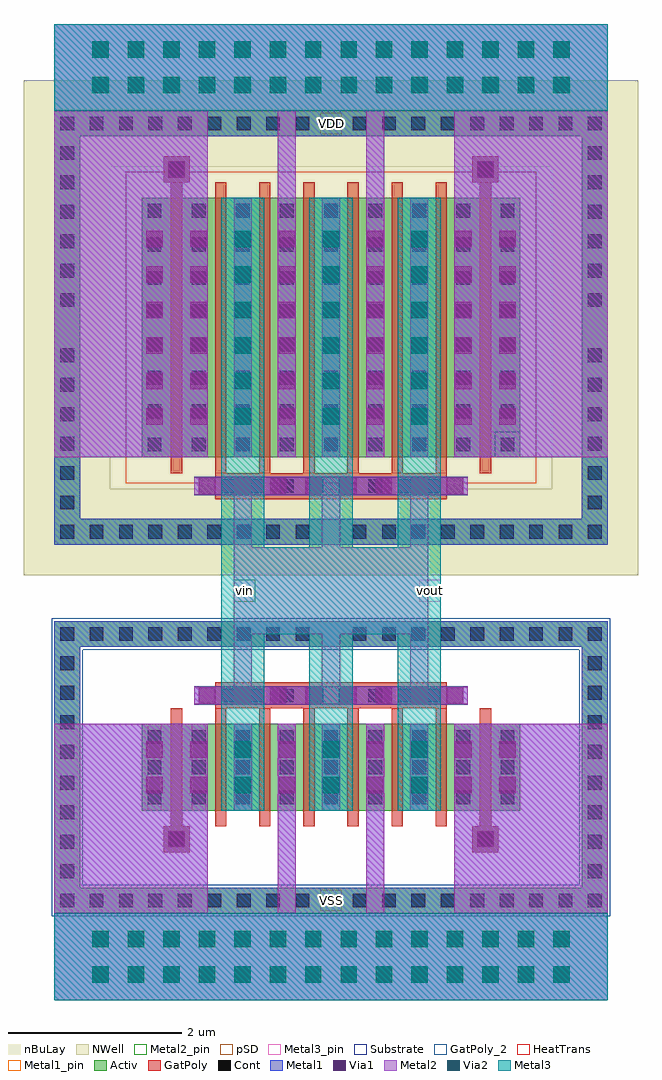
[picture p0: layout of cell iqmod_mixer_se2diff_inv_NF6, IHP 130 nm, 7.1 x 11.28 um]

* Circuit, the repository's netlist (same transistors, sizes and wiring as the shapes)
** sch_path: /foss/designs/TinyWhisper/ihp130/macros/iqmod/xschem/iqmod_mixer_se2diff_inv_NF6.sch
.subckt iqmod_mixer_se2diff_inv_NF6 nwell psub VDD vin vout VSS
*.PININFO vin:I VDD:B VSS:B vout:B nwell:B psub:B
MM1 vout vin VSS psub sg13_lv_nmos w=6.0u l=0.13u ng=6
MM2 vout vin VDD nwell sg13_lv_pmos w=18.0u l=0.13u ng=6
MMdummy1 VSS VSS VSS psub sg13_lv_nmos w=2.0u l=0.13u ng=2
MMdummy2 VDD VDD VDD nwell sg13_lv_pmos w=6.0u l=0.13u ng=2
RR1 VDD nwell ntap1 A=6.492e-12 P=4.328e-05
RR2 VSS psub ptap1 A=5.508e-12 P=3.672e-05
.ends

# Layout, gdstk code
import gdstk
lib = gdstk.Library(unit=1e-6, precision=5e-09)
def R(c, l, rs):  # rectangles x0, y0, x1, y1
    for r in rs: c.add(gdstk.rectangle(r[:2], r[2:], *l))
def A(c, l, x, y, w, h, nx, ny, dx, dy):  # array of equal rectangles
    R(c, l, [(x+i*dx, y+j*dy, x+i*dx+w, y+j*dy+h) for i in range(nx) for j in range(ny)])
def P(c, l, *ps):  # polygons
    for p in ps: c.add(gdstk.Polygon(p, *l))
Activ = (1, 0)
GatPoly = (5, 0)
GatPoly_2 = (5, 2)
Cont = (6, 0)
Metal1 = (8, 0)
Metal1_pin = (8, 2)
Metal2 = (10, 0)
Metal2_pin = (10, 2)
pSD = (14, 0)
Via1 = (19, 0)
Via2 = (29, 0)
Metal3 = (30, 0)
Metal3_pin = (30, 2)
NWell = (31, 0)
nBuLay = (32, 0)
Substrate = (40, 0)
HeatTrans = (51, 0)

via_stack_2 = lib.new_cell('via_stack$2')
R(via_stack_2, GatPoly, [(-0.15,-0.15,0.15,0.15)])
R(via_stack_2, Cont, [(-0.08,-0.08,0.08,0.08)])
R(via_stack_2, Metal1, [(-0.145,-0.105,0.145,0.105)])
R(via_stack_2, Metal2, [(-0.145,-0.1,0.145,0.1)])
R(via_stack_2, Via1, [(-0.095,-0.095,0.095,0.095)])

via_stack = lib.new_cell('via_stack')
R(via_stack, Metal1, [(-0.105,-1.17,0.105,1.17)])
R(via_stack, Metal2, [(-0.1,-1.17,0.1,1.17)])
A(via_stack, Via1, -0.095, -1.12, 0.19, 0.19, 1, 6, 0, 0.41)
A(via_stack, Via2, -0.095, -1.12, 0.19, 0.19, 1, 6, 0, 0.41)
R(via_stack, Metal3, [(-0.1,-1.17,0.1,1.17)])

via_stack_1 = lib.new_cell('via_stack$1')
R(via_stack_1, GatPoly, [(-1.34,-0.15,1.34,0.15)])
A(via_stack_1, Cont, -1.27, -0.08, 0.16, 0.16, 8, 1, 0.34, 0)
R(via_stack_1, Metal1, [(-1.58,-0.105,1.58,0.105)])
R(via_stack_1, Metal2, [(-1.58,-0.1,1.58,0.1)])
A(via_stack_1, Via1, -1.53, -0.095, 0.19, 0.19, 8, 1, 0.41, 0)

pmos_1 = lib.new_cell('pmos$1')
A(pmos_1, Activ, 0, 0, 0.3, 0.3, 9, 1, 0.51, 0)
R(pmos_1, Activ, [(-1.01,-0.71,-0.71,3.71), (5.09,-0.71,5.39,3.71), (0,0,4.38,3), (-1.01,3.71,5.39,4.01)])
P(pmos_1, Activ, [(-1.01,-1.01),(-1.01,3.71),(-0.71,3.71),(-0.71,-0.71),(5.09,-0.71),(5.09,3.71),(-1.01,3.71),(-1.01,4.01),(5.39,4.01),(5.39,-1.01)])
A(pmos_1, GatPoly, 0.34, -0.18, 0.13, 3.36, 8, 1, 0.51, 0)
R(pmos_1, GatPoly, [(0.34,-0.18,0.47,3.18)])
A(pmos_1, Cont, -0.94, -0.94, 0.16, 0.16, 9, 2, 0.34, 4.72)
A(pmos_1, Cont, 2.44, -0.94, 0.16, 0.16, 9, 2, 0.34, 4.72)
A(pmos_1, Cont, -0.94, -0.6, 0.16, 0.16, 1, 6, 0, 0.34)
A(pmos_1, Cont, 5.16, -0.6, 0.16, 0.16, 1, 6, 0, 0.34)
A(pmos_1, Cont, 0.07, 0.07, 0.16, 0.16, 9, 7, 0.51, 0.385)
A(pmos_1, Cont, -0.94, 1.74, 0.16, 0.16, 1, 6, 0, 0.34)
A(pmos_1, Cont, 5.16, 1.74, 0.16, 0.16, 1, 6, 0, 0.34)
A(pmos_1, Cont, 0.07, 2.77, 0.16, 0.16, 9, 1, 0.51, 0)
A(pmos_1, Metal1, 0.58, 0, 0.16, 3, 8, 1, 0.51, 0)
R(pmos_1, Metal1, [(-1.01,-1.01,5.39,-0.71), (-1.01,-0.71,-0.71,3.71), (5.09,-0.71,5.39,3.71), (0.07,0,0.23,3), (0.07,0,0.23,3), (0.58,0,0.74,3), (-1.01,3.71,5.39,4.01)])
R(pmos_1, pSD, [(-0.18,-0.3,4.56,3.3)])
R(pmos_1, NWell, [(-1.36,-1.36,5.74,4.36), (-0.31,-0.31,4.69,3.31)])
R(pmos_1, nBuLay, [(-1.36,-0.36,-0.36,3.36), (4.74,-0.36,5.74,3.36), (-1.36,3.36,5.74,4.36)])
P(pmos_1, nBuLay, [(-1.36,-1.36),(-1.36,3.36),(-0.36,3.36),(-0.36,-0.36),(4.74,-0.36),(4.74,3.36),(-1.36,3.36),(-1.36,4.36),(5.74,4.36),(5.74,-1.36)])
R(pmos_1, Substrate, [(4.08,0,4.38,0.3)])
A(pmos_1, HeatTrans, 0.34, -0.18, 0.13, 3.36, 8, 1, 0.51, 0)
pmos_1.add(gdstk.Label('pmos', (0.405,1.5), layer=63, texttype=0))
pmos_1.add(gdstk.Label('well', (2.19,-0.86), layer=63, texttype=0))
pmos_1.add(gdstk.Label('pmos', (0.405,1.5), layer=51, texttype=0))
pmos_1.add(gdstk.Label('pmos', (0.915,1.5), layer=51, texttype=0))
pmos_1.add(gdstk.Label('pmos', (1.425,1.5), layer=51, texttype=0))
pmos_1.add(gdstk.Label('pmos', (1.935,1.5), layer=51, texttype=0))
pmos_1.add(gdstk.Label('pmos', (2.445,1.5), layer=51, texttype=0))
pmos_1.add(gdstk.Label('pmos', (2.955,1.5), layer=51, texttype=0))
pmos_1.add(gdstk.Label('pmos', (3.465,1.5), layer=51, texttype=0))
pmos_1.add(gdstk.Label('pmos', (3.975,1.5), layer=51, texttype=0))

via_stack_5 = lib.new_cell('via_stack$5')
R(via_stack_5, Metal1, [(-0.105,-0.35,0.105,0.35)])
R(via_stack_5, Metal2, [(-0.1,-0.35,0.1,0.35)])
R(via_stack_5, Via1, [(-0.095,-0.3,0.095,-0.11), (-0.095,0.11,0.095,0.3)])
R(via_stack_5, Via2, [(-0.095,-0.3,0.095,-0.11), (-0.095,0.11,0.095,0.3)])
R(via_stack_5, Metal3, [(-0.1,-0.35,0.1,0.35)])

nmos_1 = lib.new_cell('nmos$1')
A(nmos_1, Activ, 0, 0, 0.3, 0.3, 9, 1, 0.51, 0)
R(nmos_1, Activ, [(-1.01,-0.89,-0.71,1.89), (5.09,-0.89,5.39,1.89), (0,0,4.38,1), (-1.01,1.89,5.39,2.19)])
P(nmos_1, Activ, [(-1.01,-1.19),(-1.01,1.89),(-0.71,1.89),(-0.71,-0.89),(5.09,-0.89),(5.09,1.89),(-1.01,1.89),(-1.01,2.19),(5.39,2.19),(5.39,-1.19)])
A(nmos_1, GatPoly, 0.34, -0.18, 0.13, 1.36, 8, 1, 0.51, 0)
R(nmos_1, GatPoly_2, [(0.34,-0.18,0.47,1.18)])
A(nmos_1, Cont, -0.94, -1.12, 0.16, 0.16, 9, 2, 0.34, 3.08)
A(nmos_1, Cont, 2.44, -1.12, 0.16, 0.16, 9, 2, 0.34, 3.08)
A(nmos_1, Cont, -0.94, -0.78, 0.16, 0.16, 1, 4, 0, 0.34)
A(nmos_1, Cont, 5.16, -0.78, 0.16, 0.16, 1, 4, 0, 0.34)
A(nmos_1, Cont, 0.07, 0.07, 0.16, 0.16, 9, 3, 0.51, 0.35)
A(nmos_1, Cont, -0.94, 0.6, 0.16, 0.16, 1, 4, 0, 0.34)
A(nmos_1, Cont, 5.16, 0.6, 0.16, 0.16, 1, 4, 0, 0.34)
A(nmos_1, Metal1, 0.07, 0, 0.16, 1, 9, 1, 0.51, 0)
R(nmos_1, Metal1, [(-1.01,-1.19,5.39,-0.89), (-1.01,-0.89,-0.71,1.89), (5.09,-0.89,5.39,1.89), (-1.01,1.89,5.39,2.19)])
R(nmos_1, Metal1_pin, [(0.07,0,0.23,1), (0.58,0,0.74,1)])
R(nmos_1, pSD, [(-1.04,-0.86,-0.68,1.86), (5.06,-0.86,5.42,1.86), (-1.04,1.86,5.42,2.22)])
P(nmos_1, pSD, [(-1.04,-1.22),(-1.04,1.86),(-0.68,1.86),(-0.68,-0.86),(5.06,-0.86),(5.06,1.86),(-1.04,1.86),(-1.04,2.22),(5.42,2.22),(5.42,-1.22)])
R(nmos_1, Substrate, [(-1.04,-0.86,-0.68,1.86), (5.06,-0.86,5.42,1.86), (-1.04,1.86,5.42,2.22)])
P(nmos_1, Substrate, [(-1.04,-1.22),(-1.04,1.86),(-0.68,1.86),(-0.68,-0.86),(5.06,-0.86),(5.06,1.86),(-1.04,1.86),(-1.04,2.22),(5.42,2.22),(5.42,-1.22)])
A(nmos_1, HeatTrans, 0.34, -0.18, 0.13, 1.36, 8, 1, 0.51, 0)
nmos_1.add(gdstk.Label('nmos', (0.405,0.5), layer=63, texttype=0))
nmos_1.add(gdstk.Label('sub!', (2.19,-1.04), layer=63, texttype=0))
nmos_1.add(gdstk.Label('nmos', (0.405,0.5), layer=51, texttype=0))
nmos_1.add(gdstk.Label('nmos', (0.915,0.5), layer=51, texttype=0))
nmos_1.add(gdstk.Label('nmos', (1.425,0.5), layer=51, texttype=0))
nmos_1.add(gdstk.Label('nmos', (1.935,0.5), layer=51, texttype=0))
nmos_1.add(gdstk.Label('nmos', (2.445,0.5), layer=51, texttype=0))
nmos_1.add(gdstk.Label('nmos', (2.955,0.5), layer=51, texttype=0))
nmos_1.add(gdstk.Label('nmos', (3.465,0.5), layer=51, texttype=0))
nmos_1.add(gdstk.Label('nmos', (3.975,0.5), layer=51, texttype=0))

via_stack_4 = lib.new_cell('via_stack$4')
R(via_stack_4, Metal1, [(-0.105,-1.17,0.105,1.17)])
R(via_stack_4, Metal2, [(-0.1,-1.17,0.1,1.17)])
A(via_stack_4, Via1, -0.095, -1.12, 0.19, 0.19, 1, 6, 0, 0.41)

via_stack_9 = lib.new_cell('via_stack$9')
R(via_stack_9, Metal1, [(-2.81,-0.31,2.81,0.31)])
R(via_stack_9, Metal2, [(-2.81,-0.305,2.81,0.305)])
A(via_stack_9, Via1, -2.76, -0.3, 0.19, 0.19, 14, 2, 0.41, 0.41)
A(via_stack_9, Via2, -2.76, -0.3, 0.19, 0.19, 14, 2, 0.41, 0.41)
R(via_stack_9, Metal3, [(-2.81,-0.305,2.81,0.305)])

via_stack_3 = lib.new_cell('via_stack$3')
R(via_stack_3, Metal1, [(-0.105,-0.35,0.105,0.35)])
R(via_stack_3, Metal2, [(-0.1,-0.35,0.1,0.35)])
R(via_stack_3, Via1, [(-0.095,-0.3,0.095,-0.11), (-0.095,0.11,0.095,0.3)])

iqmod_mixer_se2diff_inv_ = lib.new_cell('iqmod_mixer_se2diff_inv_NF6')
A(iqmod_mixer_se2diff_inv_, Metal1, 2.425, 2.19, 0.21, 1, 3, 1, 1.02, 0)
A(iqmod_mixer_se2diff_inv_, Metal1, 2.425, 6.27, 0.21, 3, 3, 1, 1.02, 0)
R(iqmod_mixer_se2diff_inv_, Metal1, [(0.35,0,6.75,1), (0.35,1,2.125,3.19), (2.935,1,3.145,3.19), (3.3,1,3.8,1.3), (3.955,1,4.165,3.19), (4.975,1,6.75,3.19), (1.615,1.71,1.915,2.01), (5.185,1.71,5.485,2.01), (2.425,2.19,2.635,3.19), (0.35,6.27,2.125,10.28), (2.935,6.27,3.145,10.28), (3.955,6.27,4.165,10.28), (4.975,6.27,6.75,10.28), (1.615,9.45,1.915,9.75), (5.185,9.45,5.485,9.75), (3.3,9.98,3.8,10.28), (0.35,10.28,6.75,11.28)])
R(iqmod_mixer_se2diff_inv_, Metal1_pin, [(3.425,1.025,3.675,1.275), (3.425,10.005,3.675,10.255)])
A(iqmod_mixer_se2diff_inv_, Metal2, 2.425, 2.19, 0.21, 1, 3, 1, 1.02, 0)
A(iqmod_mixer_se2diff_inv_, Metal2, 2.425, 3.62, 0.21, 2.22, 3, 1, 1.02, 0)
A(iqmod_mixer_se2diff_inv_, Metal2, 2.425, 6.27, 0.21, 3, 3, 1, 1.02, 0)
R(iqmod_mixer_se2diff_inv_, Metal2, [(0.35,0,6.75,1), (0.35,1,2.125,3.19), (2.935,1,3.145,3.19), (3.955,1,4.165,3.19), (4.975,1,6.75,3.19), (1.615,1.71,1.915,2.01), (5.185,1.71,5.485,2.01), (2.425,4.23,4.675,5.23), (0.35,6.27,2.125,10.28), (2.935,6.27,3.145,10.28), (3.955,6.27,4.165,10.28), (4.975,6.27,6.75,10.28), (1.615,9.45,1.915,9.75), (5.185,9.45,5.485,9.75), (0.35,10.28,6.75,11.28)])
R(iqmod_mixer_se2diff_inv_, Metal2_pin, [(2.425,4.605,2.675,4.855)])
A(iqmod_mixer_se2diff_inv_, Metal3, 2.28, 2.19, 0.5, 7.08, 3, 1, 1.02, 0)
A(iqmod_mixer_se2diff_inv_, Metal3, 2.425, 2.19, 0.21, 1, 3, 1, 1.02, 0)
A(iqmod_mixer_se2diff_inv_, Metal3, 2.425, 6.27, 0.21, 3, 3, 1, 1.02, 0)
R(iqmod_mixer_se2diff_inv_, Metal3, [(0.35,0,6.75,1), (2.28,4.23,4.82,5.23), (0.35,10.28,6.75,11.28)])
R(iqmod_mixer_se2diff_inv_, Metal3_pin, [(4.57,4.605,4.82,4.855)])
iqmod_mixer_se2diff_inv_.add(gdstk.Reference(via_stack_2, (1.765,9.6)))
iqmod_mixer_se2diff_inv_.add(gdstk.Reference(via_stack_2, (5.335,1.86)))
iqmod_mixer_se2diff_inv_.add(gdstk.Reference(via_stack_2, (1.765,1.86)))
iqmod_mixer_se2diff_inv_.add(gdstk.Reference(via_stack_2, (5.335,9.6)))
iqmod_mixer_se2diff_inv_.add(gdstk.Reference(via_stack, (2.53,7.77)))
iqmod_mixer_se2diff_inv_.add(gdstk.Reference(via_stack_1, (3.55,5.94)))
iqmod_mixer_se2diff_inv_.add(gdstk.Reference(pmos_1, (1.36,6.27)))
iqmod_mixer_se2diff_inv_.add(gdstk.Reference(via_stack_5, (2.53,2.69)))
iqmod_mixer_se2diff_inv_.add(gdstk.Reference(via_stack_1, (3.55,3.52)))
iqmod_mixer_se2diff_inv_.add(gdstk.Reference(nmos_1, (1.36,2.19)))
iqmod_mixer_se2diff_inv_.add(gdstk.Reference(via_stack, (3.55,7.77)))
iqmod_mixer_se2diff_inv_.add(gdstk.Reference(via_stack, (4.57,7.77)))
iqmod_mixer_se2diff_inv_.add(gdstk.Reference(via_stack_5, (3.55,2.69)))
iqmod_mixer_se2diff_inv_.add(gdstk.Reference(via_stack_5, (4.57,2.69)))
iqmod_mixer_se2diff_inv_.add(gdstk.Reference(via_stack_4, (1.51,7.77)))
iqmod_mixer_se2diff_inv_.add(gdstk.Reference(via_stack_9, (3.55,10.78)))
iqmod_mixer_se2diff_inv_.add(gdstk.Reference(via_stack_4, (5.08,7.77)))
iqmod_mixer_se2diff_inv_.add(gdstk.Reference(via_stack_4, (5.59,7.77)))
iqmod_mixer_se2diff_inv_.add(gdstk.Reference(via_stack_4, (2.02,7.77)))
iqmod_mixer_se2diff_inv_.add(gdstk.Reference(via_stack_4, (3.04,7.77)))
iqmod_mixer_se2diff_inv_.add(gdstk.Reference(via_stack_4, (4.06,7.77)))
iqmod_mixer_se2diff_inv_.add(gdstk.Reference(via_stack_3, (2.02,2.69)))
iqmod_mixer_se2diff_inv_.add(gdstk.Reference(via_stack_3, (3.04,2.69)))
iqmod_mixer_se2diff_inv_.add(gdstk.Reference(via_stack_3, (4.06,2.69)))
iqmod_mixer_se2diff_inv_.add(gdstk.Reference(via_stack_3, (5.08,2.69)))
iqmod_mixer_se2diff_inv_.add(gdstk.Reference(via_stack_3, (5.59,2.69)))
iqmod_mixer_se2diff_inv_.add(gdstk.Reference(via_stack_3, (1.51,2.69)))
iqmod_mixer_se2diff_inv_.add(gdstk.Reference(via_stack_9, (3.55,0.5)))
iqmod_mixer_se2diff_inv_.add(gdstk.Label('vin', (2.55,4.73), layer=10, texttype=25))
iqmod_mixer_se2diff_inv_.add(gdstk.Label('VDD', (3.55,10.13), layer=8, texttype=25))
iqmod_mixer_se2diff_inv_.add(gdstk.Label('VSS', (3.55,1.15), layer=8, texttype=25))
iqmod_mixer_se2diff_inv_.add(gdstk.Label('vout', (4.695,4.73), layer=30, texttype=25))

lib.write_gds('iqmod_mixer_se2diff_inv_NF6.gds')
